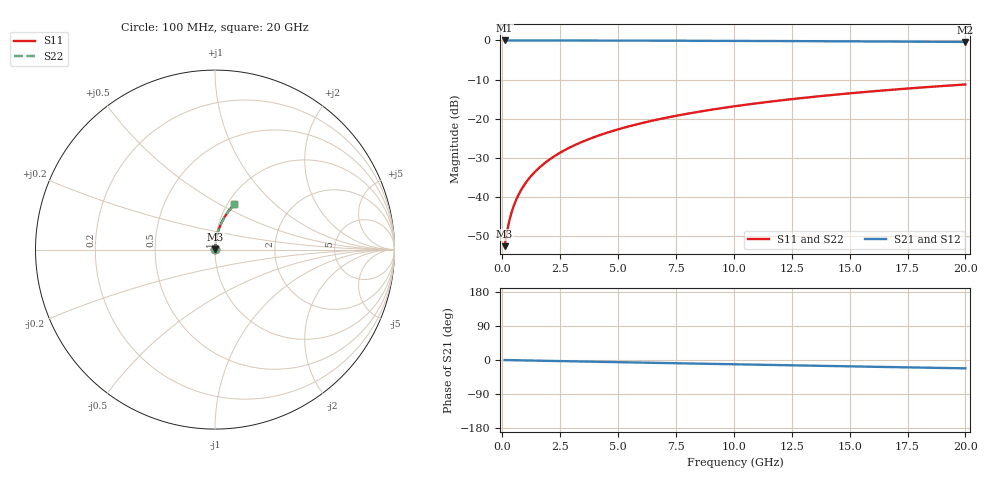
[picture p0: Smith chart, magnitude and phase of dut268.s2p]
! Touchstone file exported from HFSS 2026.1.0
!  File:  C:/ffzhzh/LocalFiles/Ansys_Project_Files/temp_train_BSMRDL_268_1782988904_40604.aedt
!  Generated:  06:42:59 PM Jul  2, 2026
!  Design:  BSMRDL
!  Project:  temp_train_BSMRDL_268_1782988904_40604
! Variables:
!  h_bsmrdl = 2.95um
!  h_ox = 20um
!  h_rdl = 5um
!  h_sub = 80um
!  h_tmrdl = 5um
!  h_tsv = 80um
!  h_via = 3um
!  l_bsmrdl = 226.82um
!  l_sub = 626.82um
!  l_tmrdl = 200um
!  m_sub = 200um
!  pitch = 59.8um
!  r_tsv = 6um
!  s_tmrdl = 10um
!  w_bsmrdl = 17.46um
!  w_sub = 500um
!  w_tmrdl = 12um
!  x_tsv_center1 = 206um
!  x_tsv_center2 = 450.28um
!  x_tsv_center3 = 662.28um
!  x_tsv_center4 = 906.56um
!  x_tsv_center5 = 1118.56um
!  x_tsv_center6 = 1362.84um
# GHz S MA R 50.000000
! Terminal data exported
! Port[1] = BSM_RDL1_1_T1
! Port[2] = BSM_RDL1_1_T2
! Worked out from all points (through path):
!   200 points, 100 MHz to 20 GHz, reference 50 ohm
!   highest |S21| = -0.02 dB at 100 MHz (marker M1); lowest = -0.4 dB at 20 GHz (marker M2)
!   group delay of S21, straight-line fit = 3.06 ps
!   lowest |S11| = -52.5 dB at 100 MHz (marker M3), VSWR 1.00, Z = 50.2 + j0.154 ohm
!   |S11| at or under -10 dB: start of sweep to end of sweep
!   |S22| runs from -52.5 to -11.3 dB; largest |S21 - S12| = 2.2e-15
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0.1  0.002363 40.6  0.9982 -0.1  0.9982 -0.1  0.002363 40.6
! Gamma 0 0 0 0
! Port Impedance 50 0 50 0
0.2  0.003574 59.1  0.9982 -0.2  0.9982 -0.2  0.003574 59.1
0.3  0.004953 67.5  0.9981 -0.4  0.9981 -0.4  0.004953 67.5
0.4  0.006377 72.0  0.9981 -0.5  0.9981 -0.5  0.006377 72.0
0.5  0.007814 74.9  0.998 -0.6  0.998 -0.6  0.007814 74.9
0.6  0.009255 76.8  0.998 -0.7  0.998 -0.7  0.009255 76.8
0.8  0.01214 79.3  0.9979 -0.9  0.9979 -0.9  0.01214 79.3
1.1  0.01649 81.3  0.9977 -1.3  0.9977 -1.3  0.01649 81.3
1.5  0.02231 82.6  0.9976 -1.7  0.9976 -1.7  0.02231 82.6
1.8  0.02669 83.1  0.9974 -2.1  0.9974 -2.1  0.02669 83.1
2.1  0.03106 83.4  0.9973 -2.4  0.9973 -2.4  0.03106 83.4
2.7  0.03982 83.5  0.9969 -3.1  0.9969 -3.1  0.03982 83.5
3.5  0.05148 83.2  0.9962 -4.0  0.9962 -4.0  0.05148 83.2
4.2  0.06164 82.8  0.9955 -4.8  0.9955 -4.8  0.06164 82.8
5  0.07321 82.1  0.9946 -5.7  0.9946 -5.7  0.07321 82.1
5.9  0.08615 81.3  0.9934 -6.7  0.9934 -6.7  0.08615 81.3
6.8  0.09901 80.4  0.992 -7.8  0.992 -7.8  0.09901 80.4
8.3  0.1202 78.9  0.9893 -9.4  0.9893 -9.4  0.1202 78.9
10.1  0.1452 77.0  0.9855 -11.4  0.9855 -11.4  0.1452 77.0
13.4  0.1899 73.6  0.9772 -15.0  0.9772 -15.0  0.1899 73.6
16.7  0.2328 70.1  0.9673 -18.6  0.9673 -18.6  0.2328 70.1
20  0.2738 66.8  0.9561 -22.0  0.9561 -22.0  0.2738 66.8
